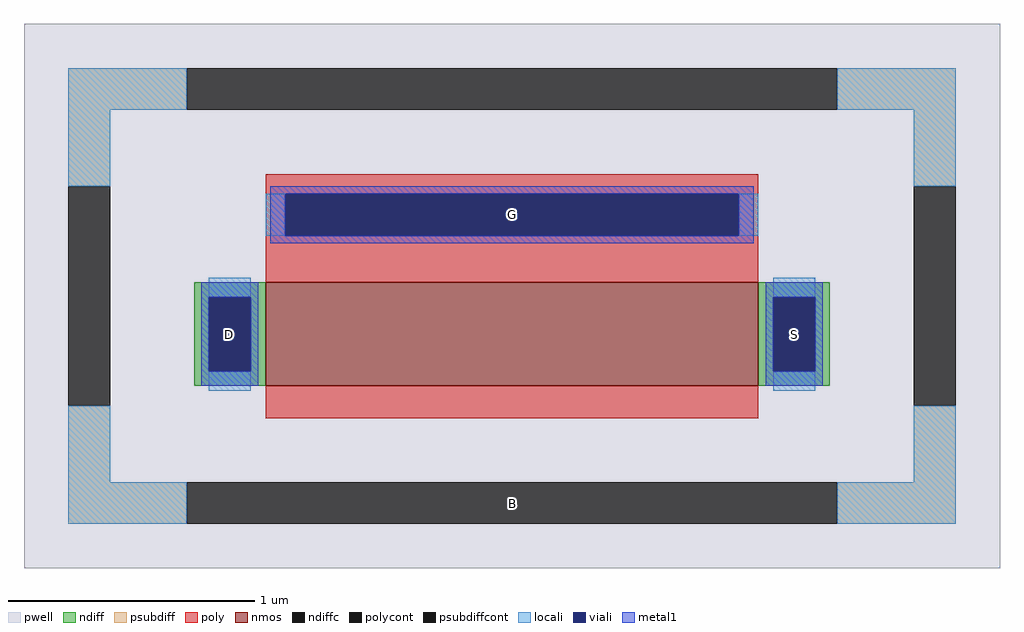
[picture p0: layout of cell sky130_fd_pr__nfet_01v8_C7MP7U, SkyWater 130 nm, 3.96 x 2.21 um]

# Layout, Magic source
magic
tech sky130A
magscale 1 2
<< pwell >>
rect -396 -221 396 221
<< nmos >>
rect -200 -73 200 11
<< ndiff >>
rect -258 -1 -200 11
rect -258 -61 -246 -1
rect -212 -61 -200 -1
rect -258 -73 -200 -61
rect 200 -1 258 11
rect 200 -61 212 -1
rect 246 -61 258 -1
rect 200 -73 258 -61
<< ndiffc >>
rect -246 -61 -212 -1
rect 212 -61 246 -1
<< psubdiff >>
rect -360 151 -264 185
rect 264 151 360 185
rect -360 89 -326 151
rect 326 89 360 151
rect -360 -151 -326 -89
rect 326 -151 360 -89
rect -360 -185 -264 -151
rect 264 -185 360 -151
<< psubdiffcont >>
rect -264 151 264 185
rect -360 -89 -326 89
rect 326 -89 360 89
rect -264 -185 264 -151
<< poly >>
rect -200 83 200 99
rect -200 49 -184 83
rect 184 49 200 83
rect -200 11 200 49
rect -200 -99 200 -73
<< polycont >>
rect -184 49 184 83
<< locali >>
rect -360 151 -264 185
rect 264 151 360 185
rect -360 89 -326 151
rect 326 89 360 151
rect -200 49 -184 83
rect 184 49 200 83
rect -246 -1 -212 15
rect -246 -77 -212 -61
rect 212 -1 246 15
rect 212 -77 246 -61
rect -360 -151 -326 -89
rect 326 -151 360 -89
rect -360 -185 -264 -151
rect 264 -185 360 -151
<< viali >>
rect -184 49 184 83
rect -246 -61 -212 -1
rect 212 -61 246 -1
<< metal1 >>
rect -196 83 196 89
rect -196 49 -184 83
rect 184 49 196 83
rect -196 43 196 49
rect -252 -1 -206 11
rect -252 -61 -246 -1
rect -212 -61 -206 -1
rect -252 -73 -206 -61
rect 206 -1 252 11
rect 206 -61 212 -1
rect 246 -61 252 -1
rect 206 -73 252 -61
<< labels >>
rlabel psubdiffcont 0 -168 0 -168 0 B
port 1 nsew
rlabel ndiffc -229 -31 -229 -31 0 D
port 2 nsew
rlabel ndiffc 229 -31 229 -31 0 S
port 3 nsew
rlabel polycont 0 66 0 66 0 G
port 4 nsew
<< properties >>
string FIXED_BBOX -343 -168 343 168
string gencell sky130_fd_pr__nfet_01v8
string library sky130
string parameters w 0.42 l 2.0 m 1 nf 1 diffcov 100 polycov 100 guard 1 glc 1 grc 1 gtc 1 gbc 1 tbcov 100 rlcov 100 topc 1 botc 0 poverlap 0 doverlap 1 lmin 0.15 wmin 0.42 class mosfet compatible {sky130_fd_pr__nfet_01v8 sky130_fd_pr__nfet_01v8_lvt  sky130_fd_bs_flash__special_sonosfet_star  sky130_fd_pr__nfet_g5v0d10v5 sky130_fd_pr__nfet_05v0_nvt  sky130_fd_pr__nfet_03v3_nvt} full_metal 1 conn_gates 0 viasrc 100 viadrn 100 viagate 100 viagb 0 viagr 0 viagl 0 viagt 0 doports 1
<< end >>
